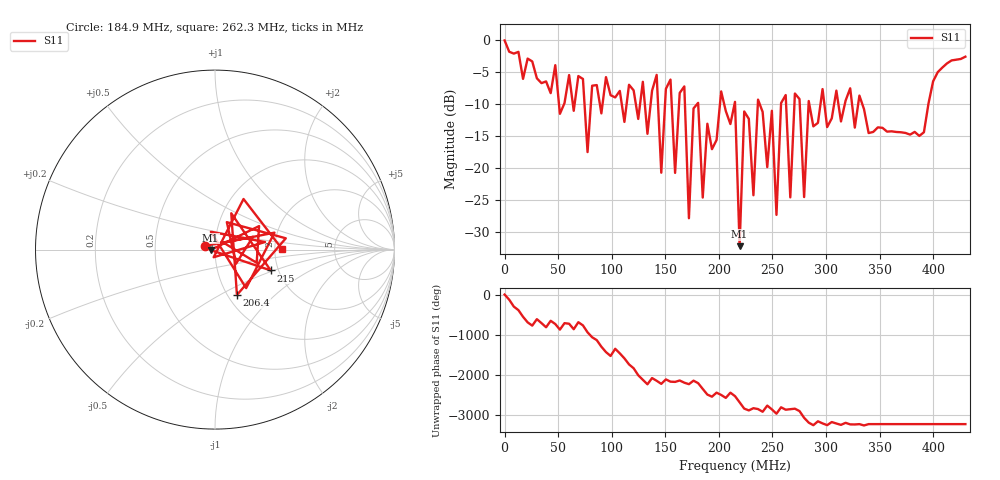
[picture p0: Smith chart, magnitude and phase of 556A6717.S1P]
!File created by NanoVNA
# Hz S RI R 50
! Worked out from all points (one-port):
!   101 points, 50 kHz to 430 MHz, reference 50 ohm
!   lowest |S11| = -32.2 dB at 219.3 MHz (marker M1), VSWR 1.05, Z = 47.6 - j0.208 ohm
!   |S11| at or under -10 dB: 180.7 MHz to 201 MHz (20.28 MHz wide, 10.6 % of centre); 215.1 MHz to 236.3 MHz (21.21 MHz wide, 9.4 % of centre); 333.9 MHz to 395.4 MHz (61.55 MHz wide, 16.9 % of centre) (the widest 3 of 21)
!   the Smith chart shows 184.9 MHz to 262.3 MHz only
!   S11 on the Smith chart (normalised r, x): 184.9 MHz: 0.89, +0.04; 206.4 MHz: 1.10, -0.61; 215 MHz: 1.82, -0.47; 262.3 MHz: 2.20, +0.01
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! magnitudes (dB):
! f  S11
! 50 kHz  0.0
! 55.94 MHz  -9.8
! 107.5 MHz  -7.9
! 141.9 MHz  -5.4
! 146.2 MHz  -20.7
! 150.5 MHz  -7.6
! 159.1 MHz  -20.7
! 163.4 MHz  -8.2
! 167.7 MHz  -7.2
! 172 MHz  -27.8
! 176.3 MHz  -10.6
! 184.9 MHz  -24.6
! 206.4 MHz  -11.0
! 215 MHz  -9.6
! 219.3 MHz  -32.2
! 223.6 MHz  -11.1
! 232.2 MHz  -24.2
! 236.5 MHz  -9.3
! 249.4 MHz  -11.0
! 253.7 MHz  -27.3
! 262.3 MHz  -8.5
! 266.6 MHz  -24.5
! 270.9 MHz  -8.3
! 279.5 MHz  -24.5
! 283.8 MHz  -9.5
! 322.5 MHz  -7.5
! 378.4 MHz  -14.7
! 430 MHz  -2.5
